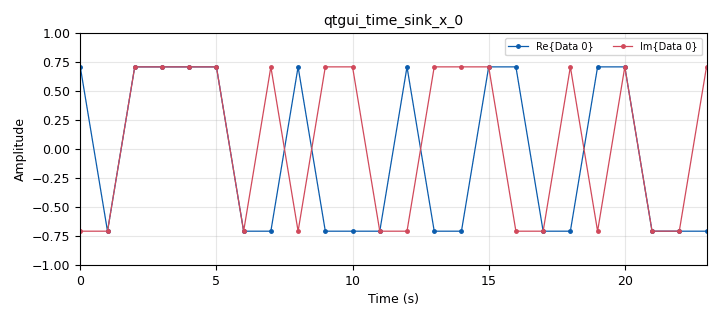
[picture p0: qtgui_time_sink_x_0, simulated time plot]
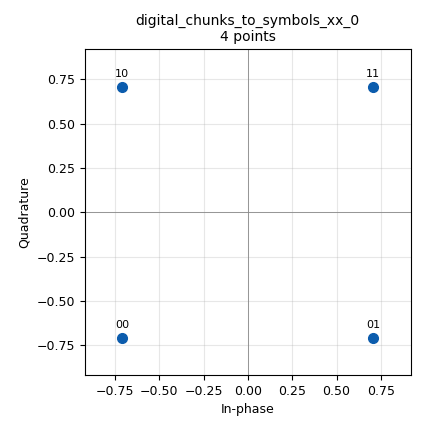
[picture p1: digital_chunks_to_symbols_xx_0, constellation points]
<?xml version='1.0' encoding='utf-8'?>
<?grc format='1' created='3.7.11'?>
<flow_graph>
<block>
<key>options</key>
<param><key>id</key><value>top_block</value></param>
<param><key>generate_options</key><value>qt_gui</value></param>
</block>
<block>
<key>variable_constellation</key>
<param><key>id</key><value>constel</value></param>
<param><key>const_points</key><value>digital.psk_2()[0]</value></param>
<param><key>type</key><value>qpsk</value></param>
<param><key>soft_dec_lut</key><value>'auto'</value></param>
<param><key>precision</key><value>8</value></param>
<param><key>sym_map</key><value>digital.psk_2()[1]</value></param>
</block>
<block>
<key>variable</key>
<param><key>id</key><value>samp_rate</value></param>
<param><key>value</key><value>32000</value></param>
</block>
<block>
<key>variable_function_probe</key>
<param><key>id</key><value>variable_function_probe_0_0</value></param>
<param><key>block_id</key><value>blocks_probe_signal_vx_0_0</value></param>
<param><key>function_name</key><value>level</value></param>
<param><key>value</key><value>0</value></param>
<param><key>poll_rate</key><value>0.5</value></param>
</block>
<block>
<key>variable_qtgui_entry</key>
<param><key>id</key><value>variable_qtgui_entry_0_0</value></param>
<param><key>value</key><value>variable_function_probe_0_0</value></param>
<param><key>label</key><value>Debug</value></param>
<param><key>type</key><value>int</value></param>
</block>
<block>
<key>blocks_probe_signal_vx</key>
<param><key>id</key><value>blocks_probe_signal_vx_0_0</value></param>
<param><key>type</key><value>complex</value></param>
<param><key>vlen</key><value>24</value></param>
</block>
<block>
<key>blocks_stream_to_vector</key>
<param><key>id</key><value>blocks_stream_to_vector_0_0</value></param>
<param><key>type</key><value>complex</value></param>
<param><key>num_items</key><value>24</value></param>
</block>
<block>
<key>blocks_vector_source_x</key>
<param><key>id</key><value>blocks_vector_source_x_0</value></param>
<param><key>_enabled</key><value>0</value></param>
<param><key>type</key><value>byte</value></param>
<param><key>repeat</key><value>True</value></param>
<param><key>vector</key><value>(1,3,3,2,1,1,1,1,1,2,2,1,2,3,3,3,0)</value></param>
</block>
<block>
<key>blocks_vector_source_x</key>
<param><key>id</key><value>blocks_vector_source_x_0_0</value></param>
<param><key>_enabled</key><value>0</value></param>
<param><key>type</key><value>byte</value></param>
<param><key>repeat</key><value>True</value></param>
<param><key>vector</key><value>(2,3,3,1,2,2,2,2,2,1,1,2,1,3,3,3,0)</value></param>
</block>
<block>
<key>blocks_vector_source_x</key>
<param><key>id</key><value>blocks_vector_source_x_0_0_0</value></param>
<param><key>type</key><value>byte</value></param>
<param><key>repeat</key><value>True</value></param>
<param><key>vector</key><value>(3,1,1,0,2,1,3,0,0,2,1,0,3,3,3,3,0,2,1,2,2,0,1,2,2,3)[2:]</value></param>
</block>
<block>
<key>digital_chunks_to_symbols_xx</key>
<param><key>id</key><value>digital_chunks_to_symbols_xx_0</value></param>
<param><key>dimension</key><value>1</value></param>
<param><key>in_type</key><value>byte</value></param>
<param><key>out_type</key><value>complex</value></param>
<param><key>symbol_table</key><value>constel.points()</value></param>
</block>
<block>
<key>qtgui_time_sink_x</key>
<param><key>id</key><value>qtgui_time_sink_x_0</value></param>
<param><key>color1</key><value>"blue"</value></param>
<param><key>label1</key><value></value></param>
<param><key>marker1</key><value>0</value></param>
<param><key>color2</key><value>"red"</value></param>
<param><key>label2</key><value></value></param>
<param><key>marker2</key><value>0</value></param>
<param><key>size</key><value>24</value></param>
<param><key>srate</key><value>1</value></param>
<param><key>type</key><value>complex</value></param>
</block>
<connection><source_block_id>blocks_stream_to_vector_0_0</source_block_id><sink_block_id>blocks_probe_signal_vx_0_0</sink_block_id><source_key>0</source_key><sink_key>0</sink_key></connection>
<connection><source_block_id>blocks_vector_source_x_0</source_block_id><sink_block_id>digital_chunks_to_symbols_xx_0</sink_block_id><source_key>0</source_key><sink_key>0</sink_key></connection>
<connection><source_block_id>blocks_vector_source_x_0_0</source_block_id><sink_block_id>digital_chunks_to_symbols_xx_0</sink_block_id><source_key>0</source_key><sink_key>0</sink_key></connection>
<connection><source_block_id>blocks_vector_source_x_0_0_0</source_block_id><sink_block_id>digital_chunks_to_symbols_xx_0</sink_block_id><source_key>0</source_key><sink_key>0</sink_key></connection>
<connection><source_block_id>digital_chunks_to_symbols_xx_0</source_block_id><sink_block_id>blocks_stream_to_vector_0_0</sink_block_id><source_key>0</source_key><sink_key>0</sink_key></connection>
<connection><source_block_id>digital_chunks_to_symbols_xx_0</source_block_id><sink_block_id>qtgui_time_sink_x_0</sink_block_id><source_key>0</source_key><sink_key>0</sink_key></connection>
</flow_graph>
